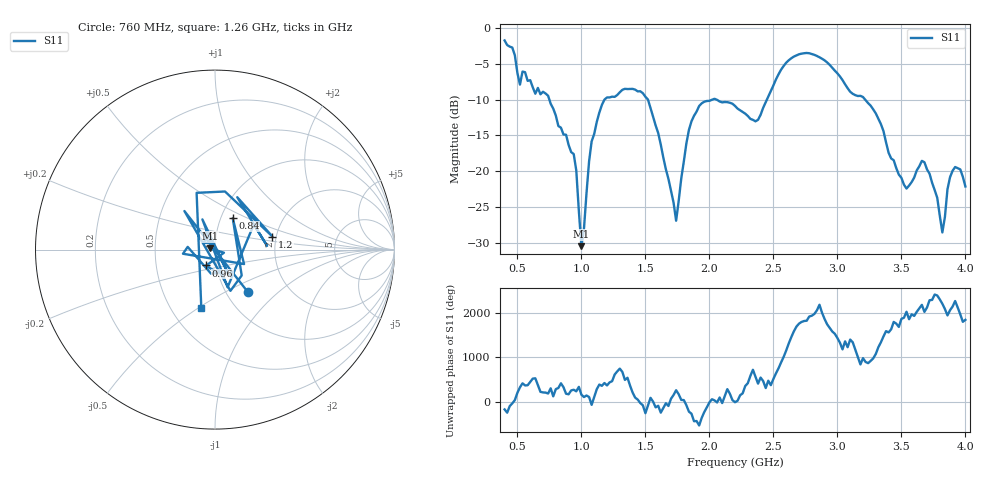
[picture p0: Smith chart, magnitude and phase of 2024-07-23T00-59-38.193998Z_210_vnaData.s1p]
!Created with skrf (http://scikit-rf.org).
# Hz S RI R 50.0
!freq ReS11 ImS11
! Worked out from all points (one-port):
!   181 points, 400 MHz to 4 GHz, reference 50 ohm
!   lowest |S11| = -30.5 dB at 1 GHz (marker M1), VSWR 1.06, Z = 47.2 + j0.704 ohm
!   |S11| at or under -10 dB: 750 MHz to 1.179 GHz (429.3 MHz wide, 44.5 % of centre); 1.521 GHz to 2.02 GHz (499.1 MHz wide, 28.2 % of centre); 3.218 GHz to end of sweep (the widest 3 of 4)
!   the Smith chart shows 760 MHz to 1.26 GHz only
!   S11 on the Smith chart (normalised r, x): 760 MHz: 1.26, -0.65; 840 MHz: 1.14, +0.42; 960 MHz: 0.89, -0.16; 1.2 GHz: 1.91, +0.31; 1.26 GHz: 0.70, -0.51
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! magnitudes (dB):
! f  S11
! 400 MHz  -1.7
! 520 MHz  -7.9
! 560 MHz  -6.1
! 760 MHz  -10.6
! 840 MHz  -13.9
! 860 MHz  -14.9
! 960 MHz  -19.9
! 1 GHz  -30.5
! 1.08 GHz  -15.8
! 1.2 GHz  -9.7
! 1.26 GHz  -9.6
! 1.3 GHz  -8.9
! 1.52 GHz  -10.0
! 1.74 GHz  -26.9
! 1.76 GHz  -24.2
! 1.84 GHz  -14.2
! 1.92 GHz  -10.9
! 2.2 GHz  -10.9
! 2.38 GHz  -12.8
! 2.66 GHz  -3.9
! 2.88 GHz  -4.3
! 3.1 GHz  -8.9
! 3.3 GHz  -11.9
! 3.56 GHz  -22.0
! 3.68 GHz  -18.8
! 3.82 GHz  -28.6
! 3.9 GHz  -19.9
! 4 GHz  -22.1
